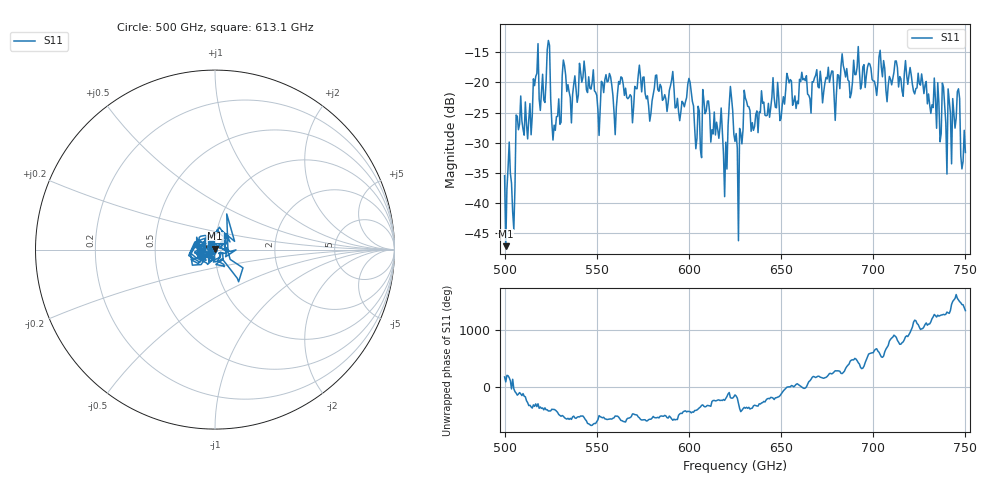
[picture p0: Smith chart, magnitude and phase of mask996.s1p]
!Created with skrf (http://scikit-rf.org).
# GHz S MA R 50.0
!freq magS11 angS11
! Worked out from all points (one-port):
!   401 points, 500 GHz to 750 GHz, reference 50 ohm
!   lowest |S11| = -47.1 dB at 500.6 GHz (marker M1), VSWR 1.01, Z = 50 + j0.439 ohm
!   |S11| at or under -10 dB: start of sweep to end of sweep
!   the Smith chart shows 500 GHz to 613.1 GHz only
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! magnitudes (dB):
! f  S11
! 500 GHz  -35.5
! 500.6 GHz  -47.1
! 504.4 GHz  -41.5
! 507.5 GHz  -27.8
! 513.8 GHz  -23.5
! 516.9 GHz  -19.0
! 520.6 GHz  -18.7
! 523.8 GHz  -13.1
! 526.9 GHz  -27.1
! 531.2 GHz  -18.9
! 560 GHz  -28.7
! 562.5 GHz  -20.3
! 593.8 GHz  -22.6
! 600.6 GHz  -20.0
! 605.6 GHz  -24.8
! 608.8 GHz  -25.2
! 619.4 GHz  -38.9
! 622.5 GHz  -20.7
! 625 GHz  -29.8
! 627.5 GHz  -27.6
! 631.2 GHz  -23.1
! 635 GHz  -27.9
! 656.2 GHz  -23.8
! 687.5 GHz  -22.6
! 718.8 GHz  -20.3
! 741.2 GHz  -23.1
! 745.6 GHz  -21.5
! 750 GHz  -31.6
